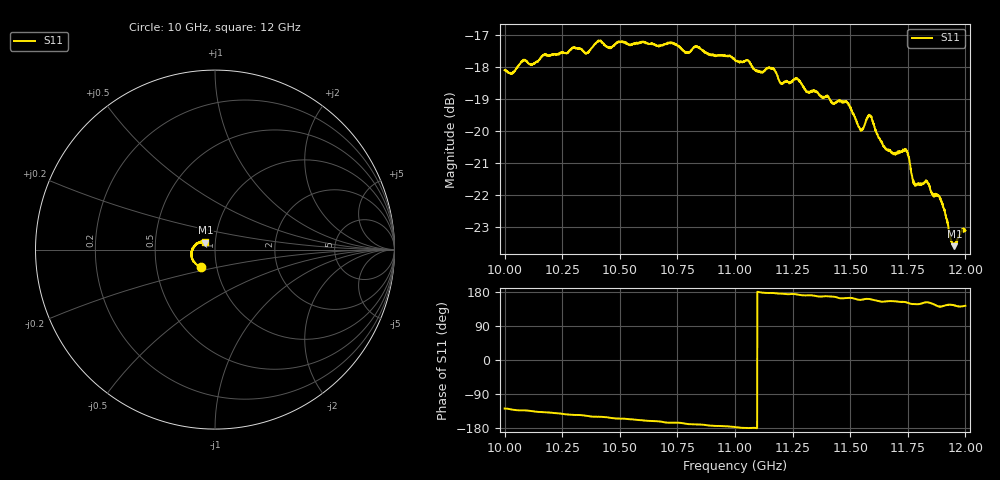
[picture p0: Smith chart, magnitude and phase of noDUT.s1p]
[Version] 2.0
! Rohde & Schwarz Vector Network Analyzer
! Rohde-Schwarz,ZNL20-2Port,1323001220200009,1.71.1.10-23.02.1.238
! Port Assignments:
! Nominal Port -> Actual Test Port
!  1 -> 1
! Created: GMT 2024-08-27 13:59:32
# Hz S DB R 50
[Number of Ports] 1
! freq[Hz]  S11[mag dB]  S11[ang]
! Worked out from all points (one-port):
!   2001 points, 10 GHz to 12 GHz, reference 50 ohm
!   lowest |S11| = -23.6 dB at 11.95 GHz (marker M1), VSWR 1.14, Z = 44.8 + j3.5 ohm
!   |S11| at or under -10 dB: start of sweep to end of sweep
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[Number of Frequencies] 28
[Network Data]
1e10  -18.11 -128.1
1.0031e10  -18.20 -130.6
1.008e10  -17.82 -132.8
1.012e10  -17.91 -134.8
1.025e10  -17.55 -142.1
1.0302e10  -17.39 -145.0
1.0358e10  -17.56 -147.5
1.0409e10  -17.19 -149.7
1.0456e10  -17.41 -152.5
1.05e10  -17.22 -154.7
1.075e10  -17.33 -165.4
1.1e10  -17.79 -177.0
1.1055e10  -17.79 -179.4
1.1105e10  -18.15 179.1
1.1163e10  -18.05 176.9
1.1202e10  -18.52 175.2
1.125e10  -18.43 174.1
1.15e10  -19.25 164.0
1.1544e10  -19.94 158.7
1.1586e10  -19.53 160.6
1.1653e10  -20.56 154.2
1.175e10  -20.75 150.7
1.178e10  -21.63 147.4
1.1833e10  -21.57 152.1
1.1891e10  -22.09 140.8
1.1938e10  -23.41 145.6
1.1952e10  -23.59 143.9
1.2e10  -23.11 143.1
[End]
